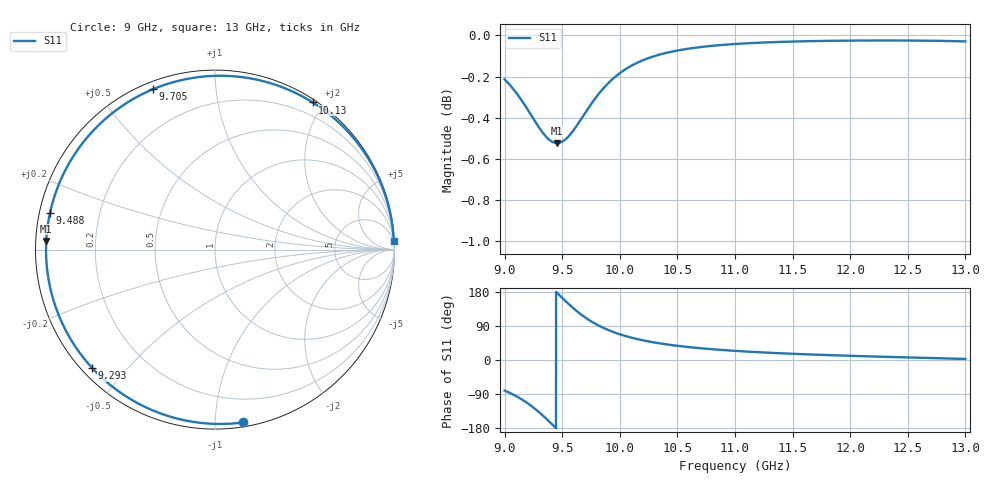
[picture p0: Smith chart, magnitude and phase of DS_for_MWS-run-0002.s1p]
! TOUCHSTONE file generated by CST DESIGN STUDIO
! Date and time: Tue Feb  4 13:10:22 2025
! Project name: C:\Work\MatlabApps\UnitCellOptimizationMatlab\CST\unitcell.cst
! Tree item: Tasks\Sweep1\SPara1\S-Parameters
! Header version: 2024
! Port assignment regex: !\s*Touchstone port\s*([0-9]+)\s*=\s*(CST MWS port|CST DES external port|CST DES block port)\s*(.+)\s* \(\"(.*)\"\)(\s*mode\s*([0-9]+))?.*
! Touchstone port assignment:
! Touchstone port 1 = CST DES external port 1 ("")
# GHz S MA R 50
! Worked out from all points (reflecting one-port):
!   4001 points, 9 GHz to 13 GHz, reference 50 ohm
!   lowest |S11| = -0.5 dB at 9.456 GHz (marker M1), VSWR 33.20, Z = 1.51 + j1.28 ohm
!   phase of S11 starts at -81 deg and turns -277 deg over the sweep
!   S11 on the Smith chart (normalised r, x): 9 GHz: 0.03, -1.18; 9.293 GHz: 0.03, -0.40; 9.488 GHz: 0.03, +0.11; 9.705 GHz: 0.03, +0.68; 10.13 GHz: 0.04, +1.86; 13 GHz: 3, +41
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9  0.9757 -80.7
9.091  0.9692 -93.8
9.164  0.9628 -106.8
9.23  0.9564 -120.7
9.293  0.9503 -136.1
9.335  0.9467 -147.4
9.38  0.9437 -160.2
9.419  0.942 -171.8
9.456  0.9415 177.1
9.488  0.9419 167.5
9.5  0.9423 163.9
9.548  0.9446 150.0
9.604  0.9488 134.8
9.654  0.9533 122.5
9.705  0.9581 111.2
9.762  0.9632 100.1
9.827  0.9686 89.3
9.911  0.9743 77.7
10  0.9791 67.9
10.135  0.9843 56.4
10.3  0.9885 46.2
10.5  0.9916 37.4
10.723  0.9936 30.4
11  0.9952 24.1
11.5  0.9966 16.4
12  0.9971 11.0
12.5  0.9971 6.7
13  0.9966 2.8
